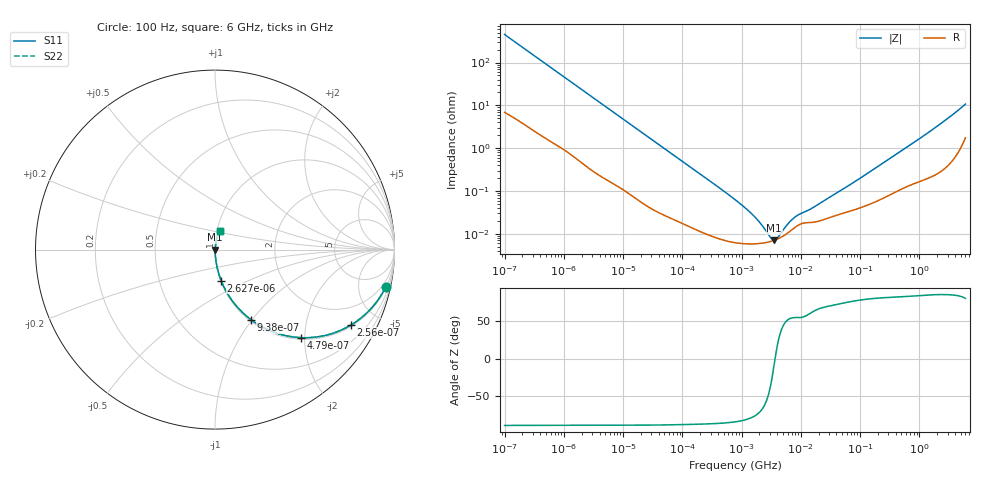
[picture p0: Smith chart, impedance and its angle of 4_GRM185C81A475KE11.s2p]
!Murata Part Number: GRM185C81A475KE11
!These Parameters are Measured in Series Mode Connection
!  o--ll--o
!Port1  Port2
!  o------o
!Operation Temp=25[C], DC Bias Voltage=0[V]
!Freq. Start=100[Hz] Stop=6000000000[Hz] 401[Steps]
# Hz S RI R 50
!Freq.(Hz) S11(Real) S11(Imag) S21(Real) S21(Imag) S12(Real) S12(Imag) S22(Real) S22(Imag)
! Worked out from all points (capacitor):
!   401 points, 100 Hz to 6 GHz, reference 50 ohm
!   read as one part in series: C = 3.5 uF near 109 Hz
!   lowest |Z| = 7.1 mohm at 3.55 MHz (marker M1)
!   series resonance near 3.677 MHz, so ESL is about 540 pH
!   S11 on the Smith chart (normalised r, x): 100 Hz: 1.14, -9.06; 256 Hz: 1.06, -3.57; 479 Hz: 1.03, -1.92; 938 Hz: 1.02, -0.99; 2.627 kHz: 1.01, -0.36; 6 GHz: 1.03, +0.21
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100  0.9506 -0.2092  0.0494 0.2092  0.0494 0.2092  0.9506 -0.2092
164  0.8816 -0.315  0.1184 0.315  0.1184 0.315  0.8816 -0.315
256  0.7577 -0.42  0.2423 0.42  0.2423 0.42  0.7577 -0.42
479  0.4804 -0.4907  0.5196 0.4907  0.5196 0.4907  0.4804 -0.4907
938  0.2016 -0.3914  0.7984 0.3914  0.7984 0.3914  0.2016 -0.3914
1342  0.1128 -0.3065  0.8872 0.3065  0.8872 0.3065  0.1128 -0.3065
2008  0.0556 -0.2197  0.9444 0.2197  0.9444 0.2197  0.0556 -0.2197
2627  0.0342 -0.1724  0.9658 0.1724  0.9658 0.1724  0.0342 -0.1724
8047  0.00478 -0.0589  0.9952 0.0589  0.9952 0.0589  0.00478 -0.0589
40335  0.000456 -0.0121  0.9995 0.0121  0.9995 0.0121  0.000456 -0.0121
774597  6.26e-05 -0.000629  0.9999 0.000629  0.9999 0.000629  6.26e-05 -0.000629
1585629  5.84e-05 -0.000262  0.9999 0.000262  0.9999 0.000262  5.84e-05 -0.000262
2713602  6.34e-05 -8.51e-05  0.9999 8.51e-05  0.9999 8.51e-05  6.34e-05 -8.51e-05
2967816  6.53e-05 -5.94e-05  0.9999 5.94e-05  0.9999 5.94e-05  6.53e-05 -5.94e-05
3549919  7.04e-05 -9.5e-06  0.9999 9.5e-06  0.9999 9.5e-06  7.04e-05 -9.5e-06
4440638  8.05e-05 5.14e-05  0.9999 -5.14e-05  0.9999 -5.14e-05  8.05e-05 5.14e-05
6353432  0.000111 0.000147  0.9999 -0.000147  0.9999 -0.000147  0.000111 0.000147
7947587  0.000141 0.000201  0.9999 -0.000201  0.9999 -0.000201  0.000141 0.000201
1.555665e7  0.000186 0.000353  0.9998 -0.000353  0.9998 -0.000353  0.000186 0.000353
3.124326e8  0.000829 0.00559  0.9992 -0.00559  0.9992 -0.00559  0.000829 0.00559
1.95892e9  0.00347 0.0316  0.9965 -0.0316  0.9965 -0.0316  0.00347 0.0316
6e9  0.0277 0.101  0.9723 -0.101  0.9723 -0.101  0.0277 0.101
